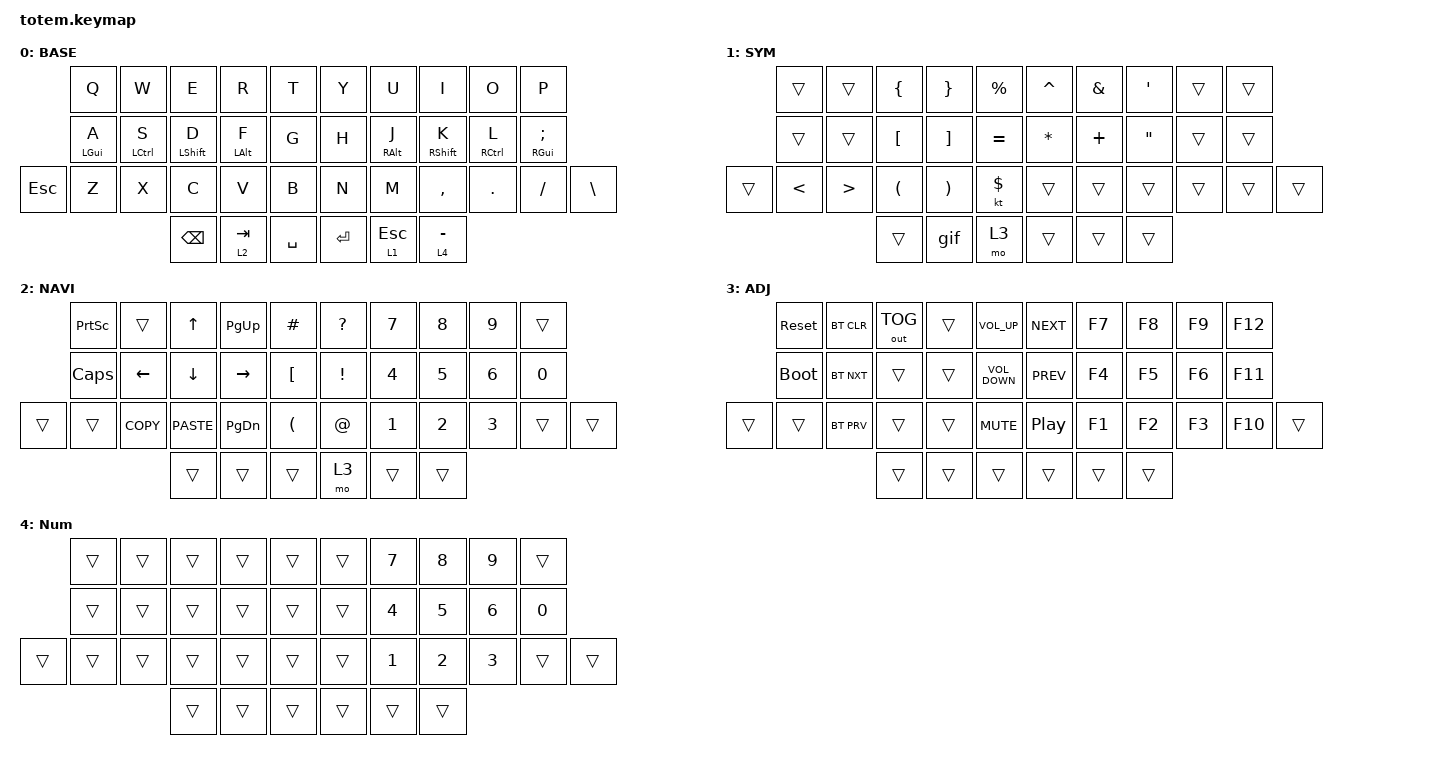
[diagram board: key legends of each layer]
//
//                                                        ▀▀▀▀▀     ▀▀▀▀▀          ▀▀█▀▀
//                                                        ▄▀▀▀▄  ▄  ▄▀▀▀▄  ▄  ▄▀▀▀▄  █  ▄▀▀▀▄
//                                                        █   █  █  █   █  █  █   █  █  █   █
//                                                         ▀▀▀   █   ▀▀▀   █   ▀▀▀   ▀   ▀▀▀
//                                                               █      ▄▄▄█▄▄▄    █   █  
//                                                               ▀      █  █  █     █▄█
//                                                             ▀▀▀▀▀    █  █  █      ▀
//                                                                      ▀  ▀  ▀
//
// ▄▄▄▄▄▄▄▄▄▄▄▄▄▄▄▄▄▄▄▄▄▄▄▄▄▄▄▄▄▄▄▄▄▄▄▄▄▄▄▄▄▄▄▄▄▄▄▄▄▄▄▄▄▄▄▄▄▄▄▄▄▄▄▄▄▄▄▄▄▄▄▄▄▄▄▄▄▄▄▄▄▄▄▄▄▄▄▄▄▄▄▄▄▄▄▄▄▄▄▄▄▄▄▄▄▄▄▄▄▄▄▄▄▄▄▄▄▄▄▄▄▄▄▄▄▄▄▄▄▄▄▄▄▄▄▄▄▄▄▄▄▄▄▄▄▄▄▄▄

#include <behaviors.dtsi>
#include <dt-bindings/zmk/bt.h>
#include <dt-bindings/zmk/keys.h>
#include <dt-bindings/zmk/outputs.h>

#define BASE 0
#define NAV  1
#define SYM  2
#define ADJ  3
#define TVP1 4
#define TVP2 5

&mt {
    quick-tap-ms = <100>;
    global-quick-tap;
    flavor = "tap-preferred";
    tapping-term-ms = <170>;
};

/ {
    combos {
        compatible = "zmk,combos";

        combo_esc {
            timeout-ms = <50>;
            key-positions = <0 1>;
            bindings = <&kp ESC>;
        };

        combo_tvp {
            timeout-ms = <100>;
            key-positions = <11 12 13>;
            bindings = <&tog 0>;
        };
    };

    macros {
        gif: gif {
            label = "giphy";
            compatible = "zmk,behavior-macro";
            #binding-cells = <0>;
            bindings =
                <&macro_press>,
                <&kp LSHFT>,
                <&macro_tap>,
                <&kp N2>,
                <&macro_release>,
                <&kp LSHFT>,
                <&macro_tap>,
                <&kp G &kp I &kp F>;
        };
    };

    keymap {
        compatible = "zmk,keymap";

        // ▄▄▄▄▄▄▄▄▄▄▄▄▄▄▄▄▄▄▄▄▄▄▄▄▄▄▄▄▄▄▄▄▄▄▄▄▄▄▄▄▄▄▄▄▄▄▄▄▄▄▄▄▄▄▄▄▄▄▄▄▄▄▄▄▄▄▄▄▄▄▄▄▄▄▄▄▄▄▄▄▄▄▄▄▄▄▄▄▄▄▄▄▄▄▄▄▄▄▄▄▄▄▄▄▄▄▄▄▄▄▄▄▄▄▄▄▄▄▄▄▄▄▄▄▄▄▄▄▄▄▄▄▄▄▄▄▄▄▄▄▄▄▄▄▄▄▄▄▄

        base_layer {
            // ┏━━━━━━━━━━━━━━━━━━━━━━━━━━━━━━━━━━━━━━━┓

            label = "BASE";

            // ┗━━━━━━━━━━━━━━━━━━━━━━━━━━━━━━━━━━━━━━━┛
            //             ┏━━━━━━━━━━━┳━━━━━━━━━━━┳━━━━━━━━━━━┳━━━━━━━━━━━┳━━━━━━━━━━━┓   ┏━━━━━━━━━━━┳━━━━━━━━━━━┳━━━━━━━━━━━┳━━━━━━━━━━━┳━━━━━━━━━━━┓
            //             ┃     Q     ┃     W     ┃     F     ┃     P     ┃     G     ┃   ┃     J     ┃     L     ┃     U     ┃     Y     ┃     ;     ┃
            //             ┣━━━━━━━━━━━╋━━━━━━━━━━━╋━━━━━━━━━━━╋━━━━━━━━━━━╋━━━━━━━━━━━┫   ┣━━━━━━━━━━━╋━━━━━━━━━━━╋━━━━━━━━━━━╋━━━━━━━━━━━╋━━━━━━━━━━━┫
            //             ┃     A     ┃     R     ┃     S     ┃     T     ┃     D     ┃   ┃     H     ┃     N     ┃     E     ┃     I     ┃     O     ┃
            // ┏━━━━━━━━━━━╋━━━━━━━━━━━╋━━━━━━━━━━━╋━━━━━━━━━━━╋━━━━━━━━━━━╋━━━━━━━━━━━┫   ┣━━━━━━━━━━━╋━━━━━━━━━━━╋━━━━━━━━━━━╋━━━━━━━━━━━╋━━━━━━━━━━━╋━━━━━━━━━━━┓
            // ┃     Q     ┃     Z     ┃     X     ┃     C     ┃     V     ┃     B     ┃   ┃     K     ┃     M     ┃     ,     ┃     .     ┃     /     ┃     \     ┃
            // ┗━━━━━━━━━━━┻━━━━━━━━━━━┻━━━━━━━━━━━╋━━━━━━━━━━━╋━━━━━━━━━━━╋━━━━━━━━━━━┫   ┣━━━━━━━━━━━╋━━━━━━━━━━━╋━━━━━━━━━━━╋━━━━━━━━━━━┻━━━━━━━━━━━┻━━━━━━━━━━━┛
            //                                     ┃    DEL    ┃    TAB    ┃    SPC    ┃   ┃   ENTER   ┃           ┃   BSPC    ┃
            //                                     ┗━━━━━━━━━━━┻━━━━━━━━━━━┻━━━━━━━━━━━┛   ┗━━━━━━━━━━━┻━━━━━━━━━━━┻━━━━━━━━━━━┛

            bindings = <
            &kp Q           &kp W               &kp E             &kp R           &kp T        &kp Y    &kp U            &kp I              &kp O        &kp P
            &mt LEFT_GUI A  &mt LEFT_CONTROL S  &mt LEFT_SHIFT D  &mt LEFT_ALT F  &kp G        &kp H    &mt RIGHT_ALT J  &mt RIGHT_SHIFT K  &mt RCTRL L  &mt RIGHT_GUI SEMICOLON
&kp ESCAPE  &kp Z           &kp X               &kp C             &kp V           &kp B        &kp N    &kp M            &kp COMMA          &kp DOT      &kp FSLH                 &kp BSLH
                                                &kp BACKSPACE     &lt 2 TAB       &kp SPACE    &kp RET  &lt 1 ESC        &lt 4 MINUS
            >;
        };

        sim_layer {
            // ┏━━━━━━━━━━━━━━━━━━━━━━━━━━━━━━━━━━━━━━━┓

            label = "SYM";

            // ┗━━━━━━━━━━━━━━━━━━━━━━━━━━━━━━━━━━━━━━━┛
            //             ┏━━━━━━━━━━━┳━━━━━━━━━━━┳━━━━━━━━━━━┳━━━━━━━━━━━┳━━━━━━━━━━━┓   ┏━━━━━━━━━━━┳━━━━━━━━━━━┳━━━━━━━━━━━┳━━━━━━━━━━━┳━━━━━━━━━━━┓
            //             ┃     !     ┃     @     ┃     #     ┃     $     ┃     %     ┃   ┃     ˆ     ┃     &     ┃     Ü     ┃     '     ┃     "     ┃
            //             ┣━━━━━━━━━━━╋━━━━━━━━━━━╋━━━━━━━━━━━╋━━━━━━━━━━━╋━━━━━━━━━━━┫   ┣━━━━━━━━━━━╋━━━━━━━━━━━╋━━━━━━━━━━━╋━━━━━━━━━━━╋━━━━━━━━━━━┫
            //             ┃     Ä     ┃           ┃    SZ     ┃           ┃           ┃   ┃   MUTE    ┃   YEN     ┃   EURO    ┃  POUND    ┃     Ö     ┃
            // ┏━━━━━━━━━━━╋━━━━━━━━━━━╋━━━━━━━━━━━╋━━━━━━━━━━━╋━━━━━━━━━━━╋━━━━━━━━━━━┫   ┣━━━━━━━━━━━╋━━━━━━━━━━━╋━━━━━━━━━━━╋━━━━━━━━━━━╋━━━━━━━━━━━╋━━━━━━━━━━━┓
            // ┃           ┃  EMAIL1   ┃  EMAIL2   ┃           ┃           ┃           ┃   ┃   VOL-    ┃   VOL+    ┃   LAST    ┃   NEXT    ┃     \     ┃           ┃
            // ┗━━━━━━━━━━━┻━━━━━━━━━━━┻━━━━━━━━━━━╋━━━━━━━━━━━╋━━━━━━━━━━━╋━━━━━━━━━━━┫   ┣━━━━━━━━━━━╋━━━━━━━━━━━╋━━━━━━━━━━━╋━━━━━━━━━━━┻━━━━━━━━━━━┻━━━━━━━━━━━┛
            //                                     ┃           ┃    GIF    ┃    ADJ    ┃   ┃           ┃           ┃           ┃
            //                                     ┗━━━━━━━━━━━┻━━━━━━━━━━━┻━━━━━━━━━━━┛   ┗━━━━━━━━━━━┻━━━━━━━━━━━┻━━━━━━━━━━━┛

            bindings = <
        &trans         &trans            &kp LEFT_BRACE        &kp RIGHT_BRACE        &kp PRCNT     &kp CARET     &kp AMPS  &kp APOSTROPHE     &trans  &trans
        &trans         &trans            &kp LEFT_BRACKET      &kp RIGHT_BRACKET      &kp EQUAL     &kp ASTERISK  &kp PLUS  &kp DOUBLE_QUOTES  &trans  &trans
&trans  &kp LESS_THAN  &kp GREATER_THAN  &kp LEFT_PARENTHESIS  &kp RIGHT_PARENTHESIS  &kt DOLLAR    &trans        &trans    &trans             &trans  &trans  &trans
                                         &trans                &gif                   &mo 3         &trans        &trans    &trans
            >;
        };

        nav_layer {
            // ┏━━━━━━━━━━━━━━━━━━━━━━━━━━━━━━━━━━━━━━━┓

            label = "NAVI";

            // ┗━━━━━━━━━━━━━━━━━━━━━━━━━━━━━━━━━━━━━━━┛
            //             ┏━━━━━━━━━━━┳━━━━━━━━━━━┳━━━━━━━━━━━┳━━━━━━━━━━━┳━━━━━━━━━━━┓   ┏━━━━━━━━━━━┳━━━━━━━━━━━┳━━━━━━━━━━━┳━━━━━━━━━━━┳━━━━━━━━━━━┓
            //             ┃           ┃           ┃     UP    ┃           ┃     {     ┃   ┃     }     ┃     7     ┃     8     ┃     9     ┃     +     ┃
            //             ┣━━━━━━━━━━━╋━━━━━━━━━━━╋━━━━━━━━━━━╋━━━━━━━━━━━╋━━━━━━━━━━━┫   ┣━━━━━━━━━━━╋━━━━━━━━━━━╋━━━━━━━━━━━╋━━━━━━━━━━━╋━━━━━━━━━━━┫
            //             ┃   SHIFT   ┃   LEFT    ┃    DOWN   ┃   RIGHT   ┃     [     ┃   ┃     ]     ┃     4     ┃     5     ┃     6     ┃     -     ┃
            // ┏━━━━━━━━━━━╋━━━━━━━━━━━╋━━━━━━━━━━━╋━━━━━━━━━━━╋━━━━━━━━━━━╋━━━━━━━━━━━┫   ┣━━━━━━━━━━━╋━━━━━━━━━━━╋━━━━━━━━━━━╋━━━━━━━━━━━╋━━━━━━━━━━━╋━━━━━━━━━━━┓
            // ┃           ┃           ┃   P UP    ┃  C LOCK   ┃  P DOWN   ┃     (     ┃   ┃     )     ┃     1     ┃     2     ┃     3     ┃     *     ┃           ┃
            // ┗━━━━━━━━━━━┻━━━━━━━━━━━┻━━━━━━━━━━━╋━━━━━━━━━━━╋━━━━━━━━━━━╋━━━━━━━━━━━┫   ┣━━━━━━━━━━━╋━━━━━━━━━━━╋━━━━━━━━━━━╋━━━━━━━━━━━┻━━━━━━━━━━━┻━━━━━━━━━━━┛
            //                                     ┃           ┃    TAB    ┃    SPC    ┃   ┃    DEL    ┃     0     ┃           ┃
            //                                     ┗━━━━━━━━━━━┻━━━━━━━━━━━┻━━━━━━━━━━━┛   ┗━━━━━━━━━━━┻━━━━━━━━━━━┻━━━━━━━━━━━┛

            bindings = <
        &kp PRINTSCREEN  &trans      &kp UP       &kp PAGE_UP  &kp HASH    &kp QUESTION     &kp N7  &kp N8  &kp N9  &trans
        &kp CAPS         &kp LEFT    &kp DOWN     &kp RIGHT    &kp LBKT    &kp EXCLAMATION  &kp N4  &kp N5  &kp N6  &kp N0
&trans  &trans           &kp K_COPY  &kp K_PASTE  &kp PG_DN    &kp LPAR    &kp AT           &kp N1  &kp N2  &kp N3  &trans  &trans
                                     &trans       &trans       &trans      &mo 3            &trans  &trans
            >;
        };

        adjust_layer {
            // ┏━━━━━━━━━━━━━━━━━━━━━━━━━━━━━━━━━━━━━━━┓

            label = "ADJ";

            // ┗━━━━━━━━━━━━━━━━━━━━━━━━━━━━━━━━━━━━━━━┛
            //             ┏━━━━━━━━━━━┳━━━━━━━━━━━┳━━━━━━━━━━━┳━━━━━━━━━━━┳━━━━━━━━━━━┓   ┏━━━━━━━━━━━┳━━━━━━━━━━━┳━━━━━━━━━━━┳━━━━━━━━━━━┳━━━━━━━━━━━┓
            //             ┃   RESET   ┃ BT CLEAR  ┃  OUT TOG  ┃           ┃           ┃   ┃           ┃    F7     ┃    F8     ┃    F9     ┃    F12    ┃
            //             ┣━━━━━━━━━━━╋━━━━━━━━━━━╋━━━━━━━━━━━╋━━━━━━━━━━━╋━━━━━━━━━━━┫   ┣━━━━━━━━━━━╋━━━━━━━━━━━╋━━━━━━━━━━━╋━━━━━━━━━━━╋━━━━━━━━━━━┫
            //             ┃ BOOTLOAD  ┃ BT NEXT   ┃           ┃           ┃           ┃   ┃           ┃    F4     ┃    F5     ┃    F6     ┃    F11    ┃
            // ┏━━━━━━━━━━━╋━━━━━━━━━━━╋━━━━━━━━━━━╋━━━━━━━━━━━╋━━━━━━━━━━━╋━━━━━━━━━━━┫   ┣━━━━━━━━━━━╋━━━━━━━━━━━╋━━━━━━━━━━━╋━━━━━━━━━━━╋━━━━━━━━━━━╋━━━━━━━━━━━┓
            // ┃           ┃           ┃ BT PREV   ┃           ┃           ┃           ┃   ┃           ┃    F1     ┃    F2     ┃    F3     ┃    F10    ┃           ┃
            // ┗━━━━━━━━━━━┻━━━━━━━━━━━┻━━━━━━━━━━━╋━━━━━━━━━━━╋━━━━━━━━━━━╋━━━━━━━━━━━┫   ┣━━━━━━━━━━━╋━━━━━━━━━━━╋━━━━━━━━━━━╋━━━━━━━━━━━┻━━━━━━━━━━━┻━━━━━━━━━━━┛
            //                                     ┃           ┃           ┃           ┃   ┃           ┃           ┃           ┃
            //                                     ┗━━━━━━━━━━━┻━━━━━━━━━━━┻━━━━━━━━━━━┛   ┗━━━━━━━━━━━┻━━━━━━━━━━━┻━━━━━━━━━━━┛

            bindings = <
        &sys_reset   &bt BT_CLR  &out OUT_TOG  &trans  &kp C_VOLUME_UP      &kp C_NEXT        &kp F7  &kp F8  &kp F9  &kp F12
        &bootloader  &bt BT_NXT  &trans        &trans  &kp C_VOLUME_DOWN    &kp C_PREV        &kp F4  &kp F5  &kp F6  &kp F11
&trans  &trans       &bt BT_PRV  &trans        &trans  &kp K_MUTE           &kp C_PLAY_PAUSE  &kp F1  &kp F2  &kp F3  &kp F10  &trans
                                 &trans        &trans  &trans               &trans            &trans  &trans
            >;
        };

        Num {
            bindings = <
        &trans  &trans  &trans  &trans  &trans    &trans  &kp N7  &kp N8  &kp N9  &trans
        &trans  &trans  &trans  &trans  &trans    &trans  &kp N4  &kp N5  &kp N6  &kp N0
&trans  &trans  &trans  &trans  &trans  &trans    &trans  &kp N1  &kp N2  &kp N3  &trans  &trans
                        &trans  &trans  &trans    &trans  &trans  &trans
            >;
        };
    };

    conditional_layers {
        compatible = "zmk,conditional-layers";

        CONDITIONAL {
            if-layers = <0>;
            then-layer = <0>;
        };
    };
};
